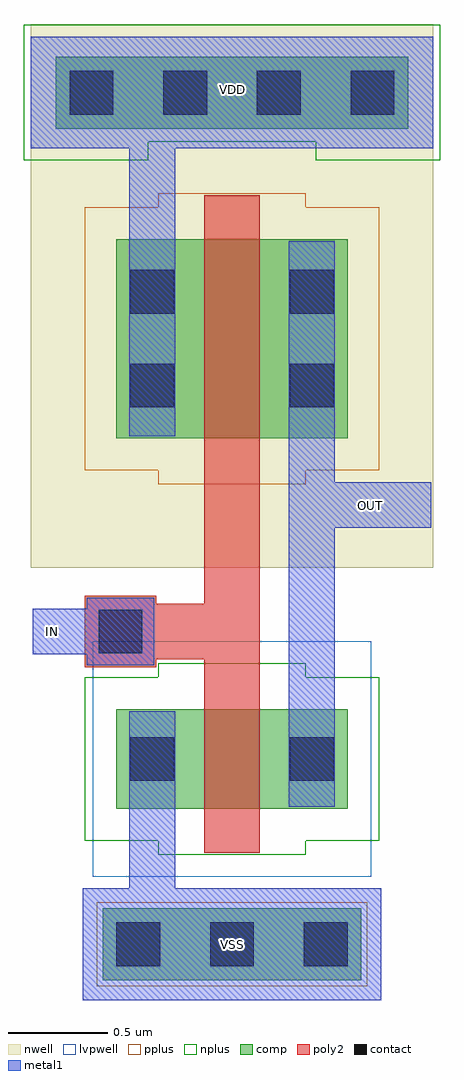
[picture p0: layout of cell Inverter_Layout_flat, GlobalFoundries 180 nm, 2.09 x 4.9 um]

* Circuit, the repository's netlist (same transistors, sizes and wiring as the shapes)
* NGSPICE file created from Inverter_Layout.ext - technology: gf180mcuC

.subckt nmos_3p3_GGGST2 a_n28_n94# a_n116_n50# a_28_n50# VSUBS
X0 a_28_n50# a_n28_n94# a_n116_n50# VSUBS nfet_03v3 ad=0.22p pd=1.88u as=0.22p ps=1.88u w=0.5u l=0.28u
.ends

.subckt pmos_3p3_MNVUAR w_n202_n230# a_28_n100# a_n28_n144# a_n116_n100#
X0 a_28_n100# a_n28_n144# a_n116_n100# w_n202_n230# pfet_03v3 ad=0.44p pd=2.88u as=0.44p ps=2.88u w=1u l=0.28u
.ends

.subckt Inverter_Layout IN OUT VSS VDD
Xnmos_3p3_GGGST2_0 IN VSS OUT VSS nmos_3p3_GGGST2
Xpmos_3p3_MNVUAR_0 VDD OUT IN VDD pmos_3p3_MNVUAR
.ends

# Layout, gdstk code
import gdstk
lib = gdstk.Library(unit=1e-6, precision=1e-09)
def R(c, l, rs):  # rectangles x0, y0, x1, y1
    for r in rs: c.add(gdstk.rectangle(r[:2], r[2:], *l))
def A(c, l, x, y, w, h, nx, ny, dx, dy):  # array of equal rectangles
    R(c, l, [(x+i*dx, y+j*dy, x+i*dx+w, y+j*dy+h) for i in range(nx) for j in range(ny)])
nwell = (21, 0)
comp = (22, 0)
poly2 = (30, 0)
pplus = (31, 0)
nplus = (32, 0)
contact = (33, 0)
metal1 = (34, 0)
lvpwell = (204, 0)

inverter_layout_flat = lib.new_cell('Inverter_Layout_flat')
R(inverter_layout_flat, nwell, [(-0.31,1.55,1.71,4.28)])
R(inverter_layout_flat, comp, [(0.05,-0.52,1.35,-0.16), (0.12,0.34,1.28,0.84), (0.12,2.2,1.28,3.2), (-0.185,3.755,1.585,4.115)])
R(inverter_layout_flat, poly2, [(0.56,0.12,0.84,1.09), (-0.04,1.05,0.32,1.09), (-0.04,1.09,0.84,1.37), (-0.04,1.37,0.32,1.41), (0.56,1.37,0.84,3.42)])
R(inverter_layout_flat, pplus, [(0.02,-0.55,1.38,-0.13), (0.33,1.97,1.07,2.04), (-0.04,2.04,1.44,3.36), (0.33,3.36,1.07,3.43)])
R(inverter_layout_flat, nplus, [(0.33,0.11,1.07,0.18), (-0.04,0.18,1.44,1), (0.33,1,1.07,1.07), (-0.345,3.595,0.28,3.69), (1.12,3.595,1.745,3.69), (-0.345,3.69,1.745,4.275)])
A(inverter_layout_flat, contact, 0.12, -0.45, 0.22, 0.22, 3, 1, 0.47, 0)
A(inverter_layout_flat, contact, -0.115, 3.825, 0.22, 0.22, 4, 1, 0.47, 0)
R(inverter_layout_flat, contact, [(0.19,0.48,0.41,0.7), (0.99,0.48,1.21,0.7), (0.03,1.12,0.25,1.34), (0.19,2.355,0.41,2.575), (0.99,2.355,1.21,2.575), (0.19,2.825,0.41,3.045), (0.99,2.825,1.21,3.045)])
R(inverter_layout_flat, metal1, [(-0.05,-0.62,1.45,-0.06), (0.185,-0.06,0.415,0.83), (0.985,0.35,1.215,1.75), (-0.03,1.06,0.31,1.115), (-0.3,1.115,0.31,1.345), (-0.03,1.345,0.31,1.4), (0.985,1.75,1.7,1.98), (0.985,1.98,1.215,3.19), (0.185,2.21,0.415,3.655), (-0.31,3.655,1.71,4.215)])
R(inverter_layout_flat, lvpwell, [(0,0,1.4,1.18)])
inverter_layout_flat.add(gdstk.Label('IN', (-0.2,1.23), layer=34, texttype=10))
inverter_layout_flat.add(gdstk.Label('OUT', (1.395,1.865), layer=34, texttype=10))
inverter_layout_flat.add(gdstk.Label('VSS', (0.7,-0.34), layer=22, texttype=0))
inverter_layout_flat.add(gdstk.Label('VDD', (0.7,3.95), layer=34, texttype=10))

lib.write_gds('Inverter_Layout_flat.gds')
